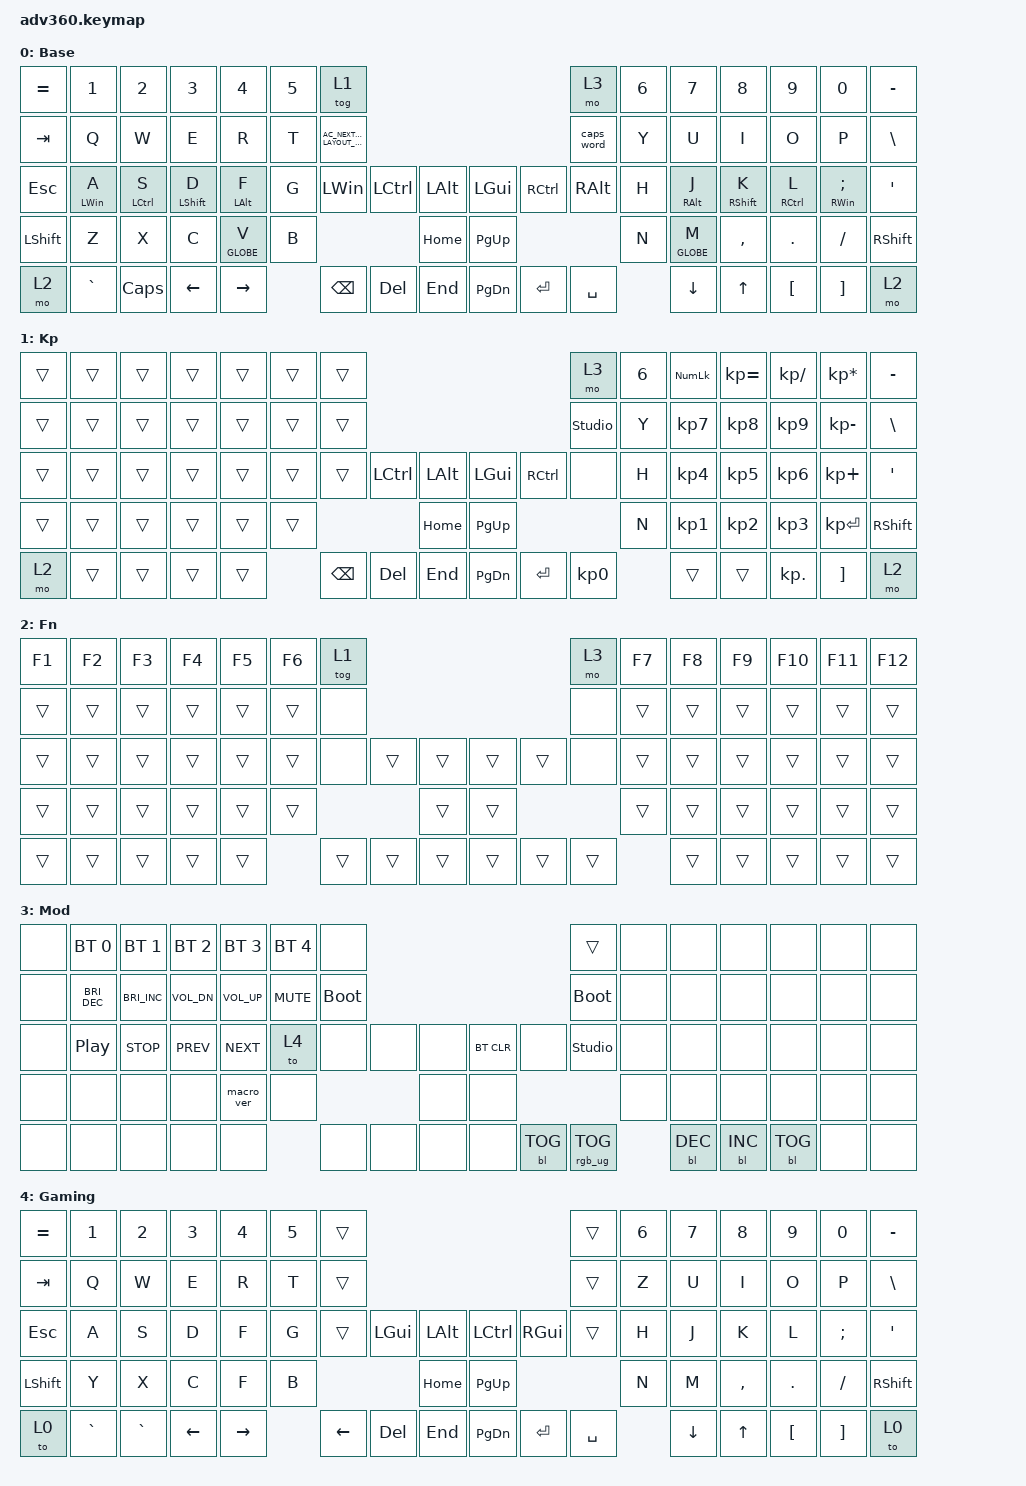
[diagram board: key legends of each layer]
#include <dt-bindings/zmk/stp.h>
#include <behaviors.dtsi>
#include <dt-bindings/zmk/backlight.h>
#include <dt-bindings/zmk/bt.h>
#include <dt-bindings/zmk/keys.h>
#include <dt-bindings/zmk/rgb.h>

/ {
    behaviors {
        #include "macros.dtsi"
      #include "version.dtsi"
      #ifndef VERSION_MACRO

        macro_ver: macro_ver {
            compatible = "zmk,behavior-macro";
            label = "macro_version";
            #binding-cells = <0>;
            bindings = <&kp RET>;
        };

        #endif

        hm: homerow_mods {
            compatible = "zmk,behavior-hold-tap";
            label = "HOMEROW_MODS";
            #binding-cells = <2>;
            tapping-term-ms = <200>;
            quick_tap_ms = <175>;
            flavor = "tap-preferred";
            bindings = <&kp>, <&kp>;
        };

        hml: homerow_mods_left {
            compatible = "zmk,behavior-hold-tap";
            #binding-cells = <2>;
            tapping-term-ms = <200>;
            quick_tap_ms = <175>;
            flavor = "balanced";
            bindings = <&kp>, <&kp>;

            hold-trigger-key-positions = <7 8 9 10 11 12 13 27 45 59 75 74 58 44 26 25 43 57 73 72 56 42 24 23 41 55 71 54 40 22 21 39 37 38 53 69 70 68>;
            hold-trigger-on-release;
            quick-tap-ms = <175>;
            require-prior-idle-ms = <75>;
        };

        hmr: homerow_mods_right {
            compatible = "zmk,behavior-hold-tap";
            label = "HMR";
            #binding-cells = <2>;
            tapping-term-ms = <200>;
            quick_tap_ms = <175>;
            flavor = "balanced";
            bindings = <&kp>, <&kp>;

            hold-trigger-on-release;
            hold-trigger-key-positions = <0 1 2 3 4 5 6 14 15 16 17 18 19 20 28 29 30 31 32 33 34 35 36 46 47 48 49 50 51 52 60 61 62 63 64 65 66 67>;
            quick-tap-ms = <175>;
            require-prior-idle-ms = <75>;
        };
    };

    combos { compatible = "zmk,combos"; };

    macros {
    };

    keymap {
        compatible = "zmk,keymap";

        default_layer {
            display-name = "Base";
            bindings = <
&kp EQUAL  &kp N1           &kp N2               &kp N3             &kp N4           &kp N5  &tog 1                                                                               &mo 3          &kp N6  &kp N7            &kp N8              &kp N9                &kp N0               &kp MINUS
&kp TAB    &kp Q            &kp W                &kp E              &kp R            &kp T   &kp C_AC_NEXT_KEYBOARD_LAYOUT_SELECT                                                 &caps_word     &kp Y   &kp U             &kp I               &kp O                 &kp P                &kp BSLH
&kp ESC    &hml LEFT_WIN A  &hml LEFT_CONTROL S  &hml LEFT_SHIFT D  &hml LEFT_ALT F  &kp G   &kp LEFT_WIN                          &kp LCTRL  &kp LALT      &kp LGUI   &kp RCTRL  &kp RIGHT_ALT  &kp H   &hmr RIGHT_ALT J  &hmr RIGHT_SHIFT K  &hmr RIGHT_CONTROL L  &hmr RIGHT_WIN SEMI  &kp SQT
&kp LSHFT  &kp Z            &kp X                &kp C              &hml GLOBE V     &kp B                                                    &kp HOME      &kp PG_UP                            &kp N   &hmr GLOBE M      &kp COMMA           &kp DOT               &kp FSLH             &kp RSHFT
&mo 2      &kp GRAVE        &kp CAPSLOCK         &kp LEFT           &kp RIGHT                &kp BSPC                              &kp DEL    &kp END       &kp PG_DN  &kp ENTER  &kp SPACE              &kp DOWN          &kp UP              &kp LBKT              &kp RBKT             &mo 2
            >;
        };

        keypad {
            display-name = "Kp";
            bindings = <
&trans  &trans  &trans  &trans  &trans  &trans  &trans                                                   &mo 3           &kp N6  &kp KP_NUM  &kp KP_EQUAL  &kp KP_DIVIDE  &kp KP_MULTIPLY  &kp MINUS
&trans  &trans  &trans  &trans  &trans  &trans  &trans                                                   &studio_unlock  &kp Y   &kp KP_N7   &kp KP_N8     &kp KP_N9      &kp KP_MINUS     &kp BSLH
&trans  &trans  &trans  &trans  &trans  &trans  &trans    &kp LCTRL  &kp LALT      &kp LGUI   &kp RCTRL  &none           &kp H   &kp KP_N4   &kp KP_N5     &kp KP_N6      &kp KP_PLUS      &kp SQT
&trans  &trans  &trans  &trans  &trans  &trans                       &kp HOME      &kp PG_UP                             &kp N   &kp KP_N1   &kp KP_N2     &kp KP_N3      &kp KP_ENTER     &kp RSHFT
&mo 2   &trans  &trans  &trans  &trans          &kp BSPC  &kp DEL    &kp END       &kp PG_DN  &kp ENTER  &kp KP_N0               &trans      &trans        &kp KP_DOT     &kp RBKT         &mo 2
            >;
        };

        fn {
            display-name = "Fn";
            bindings = <
&kp F1  &kp F2  &kp F3  &kp F4  &kp F5  &kp F6  &tog 1                                      &mo 3   &kp F7  &kp F8  &kp F9  &kp F10  &kp F11  &kp F12
&trans  &trans  &trans  &trans  &trans  &trans  &none                                       &none   &trans  &trans  &trans  &trans   &trans   &trans
&trans  &trans  &trans  &trans  &trans  &trans  &none   &trans  &trans      &trans  &trans  &none   &trans  &trans  &trans  &trans   &trans   &trans
&trans  &trans  &trans  &trans  &trans  &trans                  &trans      &trans                  &trans  &trans  &trans  &trans   &trans   &trans
&trans  &trans  &trans  &trans  &trans          &trans  &trans  &trans      &trans  &trans  &trans          &trans  &trans  &trans   &trans   &trans
            >;
        };

        mod {
            display-name = "Mod";
            bindings = <
&none  &bt BT_SEL 0          &bt BT_SEL 1          &bt BT_SEL 2  &bt BT_SEL 3  &bt BT_SEL 4  &none                                                  &trans           &none  &none       &none       &none       &none  &none
&none  &kp C_BRIGHTNESS_DEC  &kp C_BRIGHTNESS_INC  &kp C_VOL_DN  &kp C_VOL_UP  &kp C_MUTE    &bootloader                                            &bootloader      &none  &none       &none       &none       &none  &none
&none  &kp C_PLAY_PAUSE      &kp C_STOP            &kp C_PREV    &kp C_NEXT    &to 4         &none        &none  &none      &bt BT_CLR  &none       &studio_unlock   &none  &none       &none       &none       &none  &none
&none  &none                 &none                 &none         &macro_ver    &none                             &none      &none                                    &none  &none       &none       &none       &none  &none
&none  &none                 &none                 &none         &none                       &none        &none  &none      &none       &bl BL_TOG  &rgb_ug RGB_TOG         &bl BL_DEC  &bl BL_INC  &bl BL_TOG  &none  &none
            >;
        };

        gaming {
            display-name = "Gaming";
            bindings = <
&kp EQUAL  &kp N1     &kp N2     &kp N3    &kp N4     &kp N5  &trans                                                     &trans     &kp N6  &kp N7    &kp N8     &kp N9    &kp N0    &kp MINUS
&kp TAB    &kp Q      &kp W      &kp E     &kp R      &kp T   &trans                                                     &trans     &kp Z   &kp U     &kp I      &kp O     &kp P     &kp BSLH
&kp ESC    &kp A      &kp S      &kp D     &kp F      &kp G   &trans    &kp LGUI  &kp LALT      &kp LCTRL      &kp RGUI  &trans     &kp H   &kp J     &kp K      &kp L     &kp SEMI  &kp SQT
&kp LSHFT  &kp Y      &kp X      &kp C     &kp F      &kp B                       &kp HOME      &kp PAGE_UP                         &kp N   &kp M     &kp COMMA  &kp DOT   &kp FSLH  &kp RSHFT
&to 0      &kp GRAVE  &kp GRAVE  &kp LEFT  &kp RIGHT          &kp LEFT  &kp DEL   &kp END       &kp PAGE_DOWN  &kp RET   &kp SPACE          &kp DOWN  &kp UP     &kp LBKT  &kp RBKT  &to 0
            >;
        };
    };

    extra1 {
        display-name = "Red";
        status = "reserved";
    };

    extra2 {
        display-name = "Purple";
        status = "reserved";
    };

    extra3 {
        display-name = "Cyan";
        status = "reserved";
    };

    extra4 {
        display-name = "Yellow";
        status = "reserved";
    };
};
